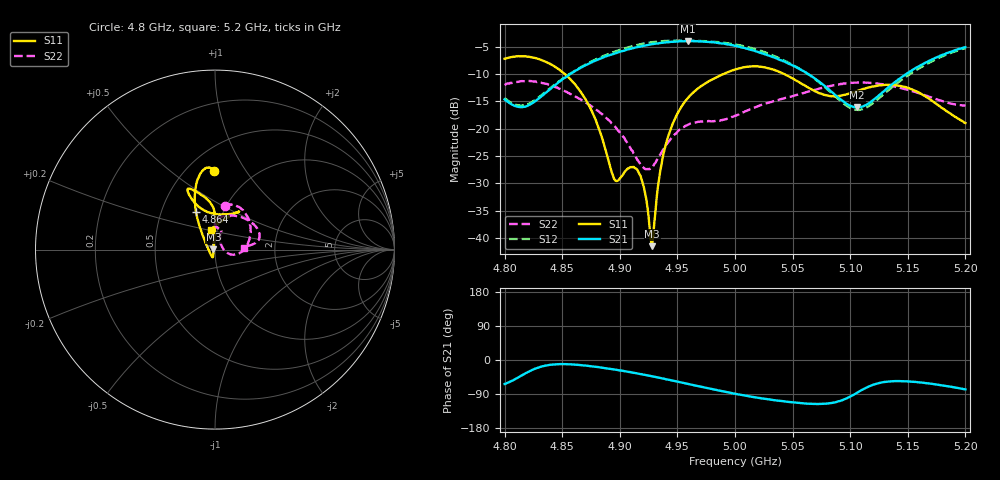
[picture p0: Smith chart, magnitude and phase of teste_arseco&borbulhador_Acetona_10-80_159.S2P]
! Network Analyzer HP8722D
! Hewlett-Packard
! Data name: Linha & Wilkinson
! Saver's name: Rodrigo Anjos
! Comments: Teste da utilização de aquisição
! continua pelo VNA HP8722D
! Time and date: 25/4/2025 16:35
!  Frequency  S11  S21  S12  S22
# HZ  S  MA R 50
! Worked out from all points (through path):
!   401 points, 4.8 GHz to 5.2 GHz, reference 50 ohm
!   highest |S21| = -3.99 dB at 4.959 GHz (marker M1); lowest = -16.1 dB at 5.106 GHz (marker M2)
!   lowest |S11| = -41.5 dB at 4.928 GHz (marker M3), VSWR 1.02, Z = 49.2 + j0.0755 ohm
!   |S11| at or under -10 dB: 4.852 GHz to 4.99 GHz (138.1 MHz wide, 2.81 % of centre); 5.042 GHz to end of sweep
!   |S22| runs from -27.4 to -11.3 dB; largest |S21 - S12| = 1.2
!   S11 on the Smith chart (normalised r, x): 4.8 GHz: 0.67, +0.72; 4.864 GHz: 0.75, +0.33; 5.2 GHz: 0.94, +0.21
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4.8e9  0.4353 90.8  0.185 -63.3  0.1901 70.0  0.2507 77.1
4.82e9  0.4536 97.1  0.1617 -31.9  0.1673 98.7  0.2722 61.7
4.843e9  0.3724 106.5  0.2462 -11.9  0.2502 119.0  0.2433 36.5
4.864e9  0.2326 116.9  0.3503 -12.8  0.3535 120.9  0.1894 11.9
4.867e9  0.2092 118.5  0.3644 -14.0  0.3687 120.7  0.1823 8.6
4.88e9  0.1128 129.1  0.423 -18.4  0.4335 118.2  0.1473 -5.3
4.896e9  0.0336 -167.0  0.4884 -25.5  0.5072 113.0  0.1038 -15.9
4.91e9  0.04442 -108.7  0.5388 -32.6  0.5643 107.0  0.06388 -13.0
4.917e9  0.03837 -105.7  0.5616 -36.6  0.5891 103.5  0.04889 -0.4
4.922e9  0.02555 -110.7  0.5755 -39.4  0.603 100.7  0.04268 17.1
4.926e9  0.01197 -137.8  0.5853 -41.8  0.6123 98.1  0.04259 33.8
4.928e9  0.008399 174.8  0.5917 -43.1  0.6173 96.9  0.045 41.3
4.934e9  0.03429 101.4  0.6039 -46.9  0.6286 93.1  0.0554 58.4
4.944e9  0.09786 91.1  0.6212 -53.2  0.6356 86.7  0.07998 69.1
4.959e9  0.1897 89.8  0.6315 -63.0  0.6377 77.1  0.1082 70.9
5e9  0.3466 109.1  0.5718 -89.2  0.5912 50.7  0.131 88.2
5.031e9  0.352 115.1  0.4575 -104.8  0.4758 33.4  0.1747 84.5
5.067e9  0.2268 105.5  0.299 -115.7  0.2966 23.6  0.2219 57.1
5.106e9  0.2199 65.0  0.1559 -86.4  0.1484 56.6  0.2633 24.7
5.134e9  0.2514 57.5  0.2415 -56.7  0.2275 88.8  0.2478 12.3
5.168e9  0.189 69.7  0.4142 -61.8  0.3971 85.1  0.1961 7.0
5.2e9  0.1124 100.9  0.555 -77.6  0.5447 70.1  0.1619 3.7
